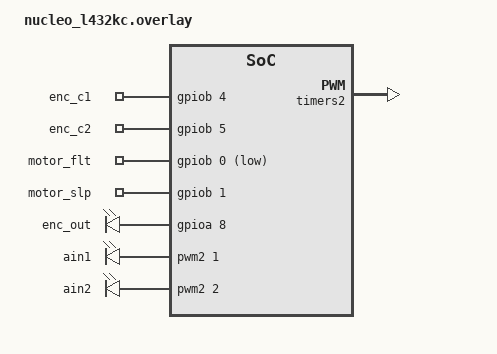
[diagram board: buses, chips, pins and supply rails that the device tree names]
/ {
    motor_inputs {
        compatible = "gpio-keys";
        enc_c1: enc_c1 { gpios = <&gpiob 4 (GPIO_ACTIVE_HIGH | GPIO_PULL_UP)>; };   // D12
        enc_c2: enc_c2 { gpios = <&gpiob 5 (GPIO_ACTIVE_HIGH | GPIO_PULL_UP)>; };   // D11
        motor_flt: motor_flt { gpios = <&gpiob 0 (GPIO_ACTIVE_LOW | GPIO_PULL_UP)>; };  // D3
    };

    motor_outputs {
        compatible = "gpio-leds";
        motor_slp: motor_slp { gpios = <&gpiob 1 GPIO_ACTIVE_HIGH>; };  // D6
        enc_out: enc_out { gpios = <&gpioa 8 GPIO_ACTIVE_HIGH>; };   // D9
    };

    motor_pwm {
        compatible = "pwm-leds";
        ain1: ain1 { pwms = <&pwm2 1 PWM_USEC(50) PWM_POLARITY_NORMAL>; }; // A0
        ain2: ain2 { pwms = <&pwm2 2 PWM_USEC(50) PWM_POLARITY_NORMAL>; };  // A1
    };

    aliases {
        c1 = &enc_c1;       // C1 on encoder
        c2 = &enc_c2;       // C2 on encoder
        enc-out = &enc_out; // Output of encoder for testing
        flt = &motor_flt;   // fault pin on motor driver
        slp = &motor_slp;   // sleep pin on motor driver
        ain1 = &ain1;       // motor driver input 1
        ain2 = &ain2;       // motor driver input 2
        // led0 is defined by default
    };
};


&timers2 {
    status = "okay";
    st,prescaler = <0>;

    pwm2: pwm {
        status = "okay";
        pinctrl-0 = <&tim2_ch1_pa0 &tim2_ch2_pa1>;   // A0, A1
        pinctrl-names = "default";
    };
};

